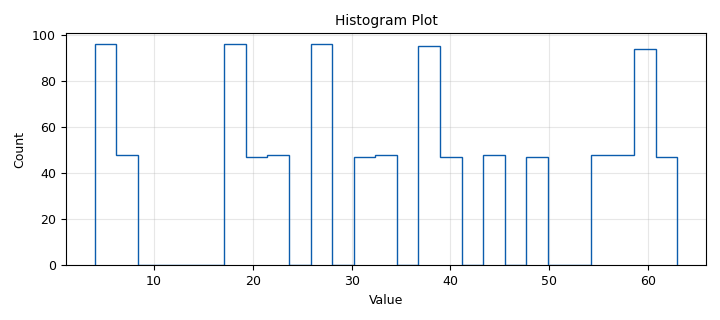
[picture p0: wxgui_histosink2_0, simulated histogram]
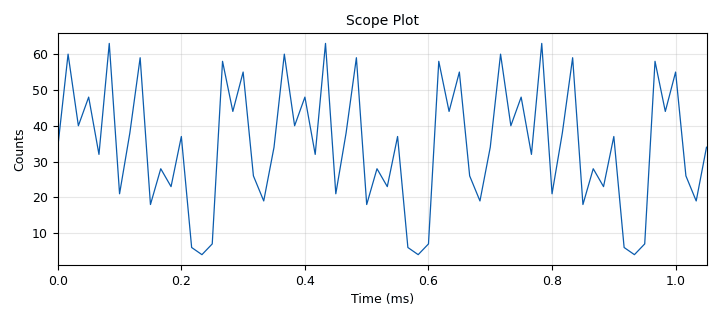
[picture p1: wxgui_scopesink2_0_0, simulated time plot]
<?xml version='1.0' encoding='utf-8'?>
<?grc format='1' created='3.7.8'?>
<flow_graph>
<block>
<key>options</key>
<param><key>id</key><value>top_block</value></param>
<param><key>category</key><value>Custom</value></param>
<param><key>generate_options</key><value>wx_gui</value></param>
</block>
<block>
<key>variable</key>
<param><key>id</key><value>samp_rate</value></param>
<param><key>value</key><value>60000</value></param>
</block>
<block>
<key>blocks_pack_k_bits_bb</key>
<param><key>id</key><value>blocks_pack_k_bits_bb_0</value></param>
<param><key>k</key><value>6</value></param>
</block>
<block>
<key>blocks_tag_debug</key>
<param><key>id</key><value>blocks_tag_debug_0</value></param>
<param><key>type</key><value>byte</value></param>
<param><key>filter</key><value></value></param>
<param><key>name</key><value>tyjturtju</value></param>
</block>
<block>
<key>blocks_throttle</key>
<param><key>id</key><value>blocks_throttle_0</value></param>
<param><key>samples_per_second</key><value>samp_rate</value></param>
<param><key>type</key><value>byte</value></param>
</block>
<block>
<key>blocks_uchar_to_float</key>
<param><key>id</key><value>blocks_uchar_to_float_0</value></param>
</block>
<block>
<key>digital_glfsr_source_x</key>
<param><key>id</key><value>digital_glfsr_source_x_0</value></param>
<param><key>degree</key><value>6</value></param>
<param><key>mask</key><value>0</value></param>
<param><key>repeat</key><value>True</value></param>
<param><key>seed</key><value>1</value></param>
<param><key>type</key><value>byte</value></param>
</block>
<block>
<key>wxgui_histosink2</key>
<param><key>id</key><value>wxgui_histosink2_0</value></param>
<param><key>frame_size</key><value>1000</value></param>
<param><key>num_bins</key><value>27</value></param>
<param><key>title</key><value>Histogram Plot</value></param>
</block>
<block>
<key>wxgui_scopesink2</key>
<param><key>id</key><value>wxgui_scopesink2_0_0</value></param>
<param><key>ac_couple</key><value>False</value></param>
<param><key>num_inputs</key><value>1</value></param>
<param><key>samp_rate</key><value>samp_rate</value></param>
<param><key>t_scale</key><value>0</value></param>
<param><key>title</key><value>Scope Plot</value></param>
<param><key>trig_mode</key><value>wxgui.TRIG_MODE_AUTO</value></param>
<param><key>type</key><value>float</value></param>
<param><key>v_offset</key><value>0</value></param>
<param><key>v_scale</key><value>0</value></param>
<param><key>xy_mode</key><value>False</value></param>
<param><key>y_axis_label</key><value>Counts</value></param>
</block>
<connection><source_block_id>blocks_pack_k_bits_bb_0</source_block_id><sink_block_id>blocks_throttle_0</sink_block_id><source_key>0</source_key><sink_key>0</sink_key></connection>
<connection><source_block_id>blocks_throttle_0</source_block_id><sink_block_id>blocks_tag_debug_0</sink_block_id><source_key>0</source_key><sink_key>0</sink_key></connection>
<connection><source_block_id>blocks_throttle_0</source_block_id><sink_block_id>blocks_uchar_to_float_0</sink_block_id><source_key>0</source_key><sink_key>0</sink_key></connection>
<connection><source_block_id>blocks_uchar_to_float_0</source_block_id><sink_block_id>wxgui_histosink2_0</sink_block_id><source_key>0</source_key><sink_key>0</sink_key></connection>
<connection><source_block_id>blocks_uchar_to_float_0</source_block_id><sink_block_id>wxgui_scopesink2_0_0</sink_block_id><source_key>0</source_key><sink_key>0</sink_key></connection>
<connection><source_block_id>digital_glfsr_source_x_0</source_block_id><sink_block_id>blocks_pack_k_bits_bb_0</sink_block_id><source_key>0</source_key><sink_key>0</sink_key></connection>
</flow_graph>
